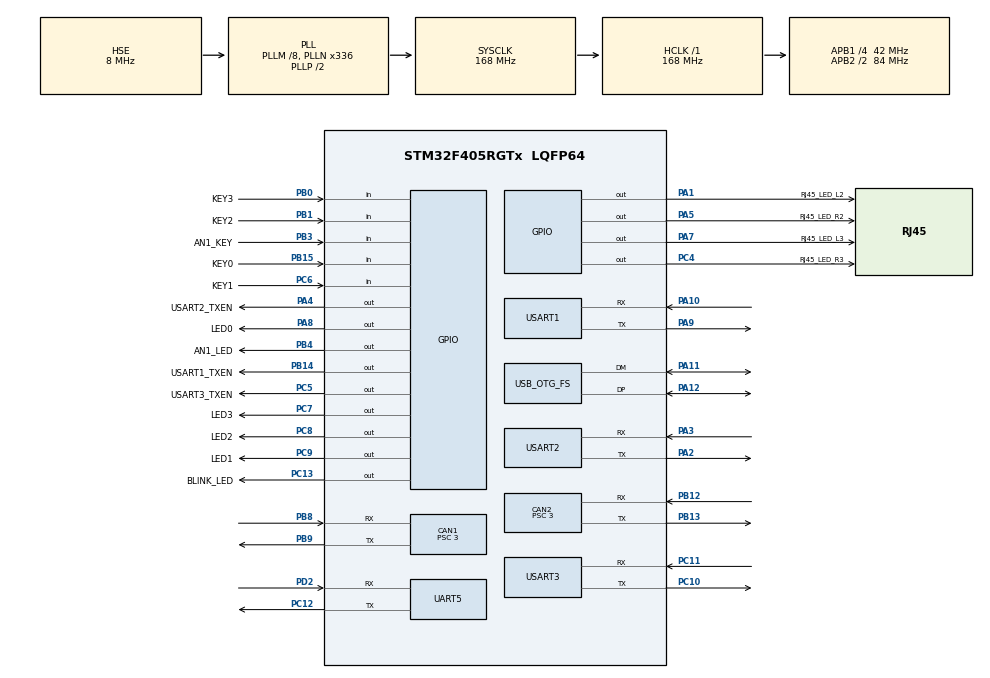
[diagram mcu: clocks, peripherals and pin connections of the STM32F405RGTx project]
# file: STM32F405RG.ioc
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CAN1.BS1=CAN_BS1_10TQ
CAN1.BS2=CAN_BS2_3TQ
CAN1.CalculateBaudRate=1000000
CAN1.CalculateTimeBit=1000
CAN1.CalculateTimeQuantum=71.42857142857143
CAN1.Prescaler=3
CAN2.BS1=CAN_BS1_10TQ
CAN2.BS2=CAN_BS2_3TQ
CAN2.CalculateBaudRate=1000000
CAN2.CalculateTimeBit=1000
CAN2.CalculateTimeQuantum=71.42857142857143
CAN2.Prescaler=3
Dma.Request0=UART5_RX
Dma.Request1=UART5_TX
Dma.Request2=USART2_RX
Dma.Request3=USART2_TX
Dma.Request4=USART3_RX
Dma.Request5=USART3_TX
Dma.Request6=USART1_RX
Dma.Request7=USART1_TX
Dma.UART5_RX.0.Direction=DMA_PERIPH_TO_MEMORY
Dma.UART5_RX.0.FIFOMode=DMA_FIFOMODE_DISABLE
Dma.UART5_RX.0.Instance=DMA1_Stream0
Dma.UART5_RX.0.MemDataAlignment=DMA_MDATAALIGN_BYTE
Dma.UART5_RX.0.MemInc=DMA_MINC_ENABLE
Dma.UART5_RX.0.Mode=DMA_CIRCULAR
Dma.UART5_RX.0.PeriphDataAlignment=DMA_PDATAALIGN_BYTE
Dma.UART5_RX.0.PeriphInc=DMA_PINC_DISABLE
Dma.UART5_RX.0.Priority=DMA_PRIORITY_LOW
Dma.UART5_TX.1.Direction=DMA_MEMORY_TO_PERIPH
Dma.UART5_TX.1.FIFOMode=DMA_FIFOMODE_DISABLE
Dma.UART5_TX.1.Instance=DMA1_Stream7
Dma.UART5_TX.1.MemDataAlignment=DMA_MDATAALIGN_BYTE
Dma.UART5_TX.1.MemInc=DMA_MINC_ENABLE
Dma.UART5_TX.1.Mode=DMA_NORMAL
Dma.UART5_TX.1.PeriphDataAlignment=DMA_PDATAALIGN_BYTE
Dma.UART5_TX.1.PeriphInc=DMA_PINC_DISABLE
Dma.UART5_TX.1.Priority=DMA_PRIORITY_LOW
Dma.USART1_RX.6.Direction=DMA_PERIPH_TO_MEMORY
Dma.USART1_RX.6.FIFOMode=DMA_FIFOMODE_DISABLE
Dma.USART1_RX.6.Instance=DMA2_Stream2
Dma.USART1_RX.6.MemDataAlignment=DMA_MDATAALIGN_BYTE
Dma.USART1_RX.6.MemInc=DMA_MINC_ENABLE
Dma.USART1_RX.6.Mode=DMA_CIRCULAR
Dma.USART1_RX.6.PeriphDataAlignment=DMA_PDATAALIGN_BYTE
Dma.USART1_RX.6.PeriphInc=DMA_PINC_DISABLE
Dma.USART1_RX.6.Priority=DMA_PRIORITY_LOW
Dma.USART1_TX.7.Direction=DMA_MEMORY_TO_PERIPH
Dma.USART1_TX.7.FIFOMode=DMA_FIFOMODE_DISABLE
Dma.USART1_TX.7.Instance=DMA2_Stream7
Dma.USART1_TX.7.MemDataAlignment=DMA_MDATAALIGN_BYTE
Dma.USART1_TX.7.MemInc=DMA_MINC_ENABLE
Dma.USART1_TX.7.Mode=DMA_NORMAL
Dma.USART1_TX.7.PeriphDataAlignment=DMA_PDATAALIGN_BYTE
Dma.USART1_TX.7.PeriphInc=DMA_PINC_DISABLE
Dma.USART1_TX.7.Priority=DMA_PRIORITY_LOW
Dma.USART2_RX.2.Direction=DMA_PERIPH_TO_MEMORY
Dma.USART2_RX.2.FIFOMode=DMA_FIFOMODE_DISABLE
Dma.USART2_RX.2.Instance=DMA1_Stream5
Dma.USART2_RX.2.MemDataAlignment=DMA_MDATAALIGN_BYTE
Dma.USART2_RX.2.MemInc=DMA_MINC_ENABLE
Dma.USART2_RX.2.Mode=DMA_CIRCULAR
Dma.USART2_RX.2.PeriphDataAlignment=DMA_PDATAALIGN_BYTE
Dma.USART2_RX.2.PeriphInc=DMA_PINC_DISABLE
Dma.USART2_RX.2.Priority=DMA_PRIORITY_LOW
Dma.USART2_TX.3.Direction=DMA_MEMORY_TO_PERIPH
Dma.USART2_TX.3.FIFOMode=DMA_FIFOMODE_DISABLE
Dma.USART2_TX.3.Instance=DMA1_Stream6
Dma.USART2_TX.3.MemDataAlignment=DMA_MDATAALIGN_BYTE
Dma.USART2_TX.3.MemInc=DMA_MINC_ENABLE
Dma.USART2_TX.3.Mode=DMA_NORMAL
Dma.USART2_TX.3.PeriphDataAlignment=DMA_PDATAALIGN_BYTE
Dma.USART2_TX.3.PeriphInc=DMA_PINC_DISABLE
Dma.USART2_TX.3.Priority=DMA_PRIORITY_LOW
Dma.USART3_RX.4.Direction=DMA_PERIPH_TO_MEMORY
Dma.USART3_RX.4.FIFOMode=DMA_FIFOMODE_DISABLE
Dma.USART3_RX.4.Instance=DMA1_Stream1
Dma.USART3_RX.4.MemDataAlignment=DMA_MDATAALIGN_BYTE
Dma.USART3_RX.4.MemInc=DMA_MINC_ENABLE
Dma.USART3_RX.4.Mode=DMA_CIRCULAR
Dma.USART3_RX.4.PeriphDataAlignment=DMA_PDATAALIGN_BYTE
Dma.USART3_RX.4.PeriphInc=DMA_PINC_DISABLE
Dma.USART3_RX.4.Priority=DMA_PRIORITY_LOW
Dma.USART3_TX.5.Direction=DMA_MEMORY_TO_PERIPH
Dma.USART3_TX.5.FIFOMode=DMA_FIFOMODE_DISABLE
Dma.USART3_TX.5.Instance=DMA1_Stream3
Dma.USART3_TX.5.MemDataAlignment=DMA_MDATAALIGN_BYTE
Dma.USART3_TX.5.MemInc=DMA_MINC_ENABLE
Dma.USART3_TX.5.Mode=DMA_NORMAL
Dma.USART3_TX.5.PeriphDataAlignment=DMA_PDATAALIGN_BYTE
Dma.USART3_TX.5.PeriphInc=DMA_PINC_DISABLE
Dma.USART3_TX.5.Priority=DMA_PRIORITY_LOW
FREERTOS.INCLUDE_eTaskGetState=1
FREERTOS.INCLUDE_uxTaskGetStackHighWaterMark=1
FREERTOS.INCLUDE_vTaskDelayUntil=1
FREERTOS.Tasks01=startTask,0,1024,StartTask,As weak,NULL,Dynamic,NULL,NULL;appTask,-3,1024,AppTask,As weak,NULL,Dynamic,NULL,NULL
FREERTOS.configCHECK_FOR_STACK_OVERFLOW=2
FREERTOS.configENABLE_FPU=1
FREERTOS.configGENERATE_RUN_TIME_STATS=1
FREERTOS.configMINIMAL_STACK_SIZE=128
FREERTOS.configTOTAL_HEAP_SIZE=102400
FREERTOS.configUSE_MALLOC_FAILED_HOOK=1
FREERTOS.configUSE_STATS_FORMATTING_FUNCTIONS=1
FREERTOS.configUSE_TIMERS=1
FREERTOS.configUSE_TRACE_FACILITY=1
Mcu.Family=STM32F4
Mcu.Name=STM32F405RGTx
Mcu.Package=LQFP64
NVIC.CAN1_RX0_IRQn=true\:5\:0\:false\:false\:true\:true\:true\:true\:true
NVIC.CAN2_RX0_IRQn=true\:5\:0\:false\:false\:true\:true\:true\:true\:true
NVIC.DMA1_Stream0_IRQn=true\:5\:0\:false\:false\:true\:true\:false\:true\:true
NVIC.DMA1_Stream1_IRQn=true\:5\:0\:false\:false\:true\:true\:false\:true\:true
NVIC.DMA1_Stream3_IRQn=true\:5\:0\:false\:false\:true\:true\:false\:true\:true
NVIC.DMA1_Stream5_IRQn=true\:5\:0\:false\:false\:true\:true\:false\:true\:true
NVIC.DMA1_Stream6_IRQn=true\:5\:0\:false\:false\:true\:true\:false\:true\:true
NVIC.DMA1_Stream7_IRQn=true\:5\:0\:false\:false\:true\:true\:false\:true\:true
NVIC.DMA2_Stream2_IRQn=true\:5\:0\:false\:false\:true\:true\:false\:true\:true
NVIC.DMA2_Stream7_IRQn=true\:5\:0\:false\:false\:true\:true\:false\:true\:true
NVIC.HASH_RNG_IRQn=true\:5\:0\:false\:false\:true\:true\:true\:true\:true
NVIC.OTG_FS_IRQn=true\:5\:0\:false\:false\:true\:true\:false\:true\:true
NVIC.PriorityGroup=NVIC_PRIORITYGROUP_4
NVIC.TIM2_IRQn=true\:5\:0\:false\:false\:true\:true\:true\:true\:true
NVIC.TIM7_IRQn=true\:15\:0\:false\:false\:true\:false\:false\:true\:true
NVIC.TimeBase=TIM7_IRQn
NVIC.TimeBaseIP=TIM7
NVIC.UART5_IRQn=true\:5\:0\:false\:false\:true\:true\:true\:true\:true
NVIC.USART1_IRQn=true\:5\:0\:false\:false\:true\:true\:true\:true\:true
NVIC.USART2_IRQn=true\:5\:0\:false\:false\:true\:true\:true\:true\:true
NVIC.USART3_IRQn=true\:5\:0\:false\:false\:true\:true\:true\:true\:true
PA1.GPIO_Label=RJ45_LED_L2
PA1.Signal=GPIO_Output
PA10.Mode=Asynchronous
PA10.Signal=USART1_RX
PA11.Mode=Device_Only
PA11.Signal=USB_OTG_FS_DM
PA12.Mode=Device_Only
PA12.Signal=USB_OTG_FS_DP
PA13.Mode=Serial_Wire
PA13.Signal=SYS_JTMS-SWDIO
PA14.Mode=Serial_Wire
PA14.Signal=SYS_JTCK-SWCLK
PA2.Mode=Asynchronous
PA2.Signal=USART2_TX
PA3.Mode=Asynchronous
PA3.Signal=USART2_RX
PA4.GPIO_Label=USART2_TXEN
PA4.Signal=GPIO_Output
PA5.GPIO_Label=RJ45_LED_R2
PA5.Signal=GPIO_Output
PA7.GPIO_Label=RJ45_LED_L3
PA7.Signal=GPIO_Output
PA8.GPIO_Label=LED0
PA8.Signal=GPIO_Output
PA9.Mode=Asynchronous
PA9.Signal=USART1_TX
PB0.GPIO_Label=KEY3
PB0.GPIO_PuPd=GPIO_PULLUP
PB0.Signal=GPIO_Input
PB1.GPIO_Label=KEY2
PB1.GPIO_PuPd=GPIO_PULLUP
PB1.Signal=GPIO_Input
PB12.Mode=CAN_Activate
PB12.Signal=CAN2_RX
PB13.Mode=CAN_Activate
PB13.Signal=CAN2_TX
PB14.GPIO_Label=USART1_TXEN
PB14.Signal=GPIO_Output
PB15.GPIO_Label=KEY0
PB15.GPIO_PuPd=GPIO_PULLUP
PB15.Signal=GPIO_Input
PB3.GPIO_Label=AN1_KEY
PB3.GPIO_PuPd=GPIO_NOPULL
PB3.Signal=GPIO_Input
PB4.GPIO_Label=AN1_LED
PB4.Signal=GPIO_Output
PB8.Mode=CAN_Activate
PB8.Signal=CAN1_RX
PB9.Mode=CAN_Activate
PB9.Signal=CAN1_TX
PC10.Mode=Asynchronous
PC10.Signal=USART3_TX
PC11.Mode=Asynchronous
PC11.Signal=USART3_RX
PC12.Mode=Asynchronous
PC12.Signal=UART5_TX
PC13-ANTI_TAMP.GPIO_Label=BLINK_LED
PC13-ANTI_TAMP.Signal=GPIO_Output
PC4.GPIO_Label=RJ45_LED_R3
PC4.Signal=GPIO_Output
PC5.GPIO_Label=USART3_TXEN
PC5.Signal=GPIO_Output
PC6.GPIO_Label=KEY1
PC6.GPIO_PuPd=GPIO_PULLUP
PC6.Signal=GPIO_Input
PC7.GPIO_Label=LED3
PC7.Signal=GPIO_Output
PC8.GPIO_Label=LED2
PC8.Signal=GPIO_Output
PC9.GPIO_Label=LED1
PC9.Signal=GPIO_Output
PD2.Mode=Asynchronous
PD2.Signal=UART5_RX
PH0-OSC_IN.Mode=HSE-External-Oscillator
PH0-OSC_IN.Signal=RCC_OSC_IN
PH1-OSC_OUT.Mode=HSE-External-Oscillator
PH1-OSC_OUT.Signal=RCC_OSC_OUT
ProjectManager.HeapSize=0x800
ProjectManager.StackSize=0x800
ProjectManager.TargetToolchain=MDK-ARM V5.32
RCC.48MHZClocksFreq_Value=48000000
RCC.AHBFreq_Value=168000000
RCC.APB1CLKDivider=RCC_HCLK_DIV4
RCC.APB1Freq_Value=42000000
RCC.APB1TimFreq_Value=84000000
RCC.APB2CLKDivider=RCC_HCLK_DIV2
RCC.APB2Freq_Value=84000000
RCC.APB2TimFreq_Value=168000000
RCC.CortexFreq_Value=168000000
RCC.HCLKFreq_Value=168000000
RCC.HSE_VALUE=8000000
RCC.HSI_VALUE=16000000
RCC.LSE_VALUE=32768
RCC.PLLM=8
RCC.PLLN=336
RCC.PLLQ=7
RCC.SYSCLKFreq_VALUE=168000000
RCC.SYSCLKSource=RCC_SYSCLKSOURCE_PLLCLK
RCC.VCOOutputFreq_Value=336000000
TIM2.AutoReloadPreload=TIM_AUTORELOAD_PRELOAD_ENABLE
TIM2.Period=99999
TIM2.Prescaler=83
UART5.VirtualMode=Asynchronous
USART1.VirtualMode=VM_ASYNC
USART2.VirtualMode=VM_ASYNC
USART3.VirtualMode=VM_ASYNC
USB_DEVICE.CLASS_NAME_FS=CDC
USB_DEVICE.VirtualMode-CDC_FS=Cdc
USB_DEVICE.VirtualModeFS=Cdc_FS
USB_OTG_FS.VirtualMode=Device_Only
VP_FREERTOS_VS_CMSIS_V1.Mode=CMSIS_V1
VP_RNG_VS_RNG.Mode=RNG_Activate
VP_SYS_VS_tim7.Mode=TIM7
VP_TIM2_VS_ClockSourceINT.Mode=Internal
VP_USB_DEVICE_VS_USB_DEVICE_CDC_FS.Mode=CDC_FS
board=custom

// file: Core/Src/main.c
/* USER CODE BEGIN Header */
/**
  ******************************************************************************
  * @file           : main.c
  * @brief          : Main program body
  ******************************************************************************
  * @attention
  *
  * Copyright (c) 2023 STMicroelectronics.
  * All rights reserved.
  *
  * This software is licensed under terms that can be found in the LICENSE file
  * in the root directory of this software component.
  * If no LICENSE file comes with this software, it is provided AS-IS.
  *
  ******************************************************************************
  */
/* USER CODE END Header */
#include "main.h"
#include "cmsis_os.h"
#include "can.h"
#include "dma.h"
#include "rng.h"
#include "tim.h"
#include "usart.h"
#include "usb_device.h"
#include "gpio.h"

/* USER CODE BEGIN Includes */
#include "SEGGER_SYSVIEW.h"
#include "SEGGER_RTT.h"
#include "init.h"
#include "drv_motor.h"

#define LOG_TAG "main"
#define LOG_OUTPUT_LEVEL LOG_INFO
#include "log.h"
/* USER CODE END Includes */

void SystemClock_Config(void);
void MX_FREERTOS_Init(void);

/* USER CODE BEGIN 0 */
extern TIM_HandleTypeDef htim2;
/* USER CODE END 0 */

int main(void)
{

  /* MCU Configuration--------------------------------------------------------*/

  /* Reset of all peripherals, Initializes the Flash interface and the Systick. */
  HAL_Init();

  /* Configure the system clock */
  SystemClock_Config();

  /* Initialize all configured peripherals */
  MX_GPIO_Init();
  MX_DMA_Init();
  MX_UART5_Init();
  MX_USART2_UART_Init();
  MX_USART3_UART_Init();
  MX_RNG_Init();
  MX_USART1_UART_Init();
  MX_CAN1_Init();
  MX_CAN2_Init();
  MX_TIM2_Init();
  /* USER CODE BEGIN 2 */
  __enable_irq();
  can_filter_init();
  HAL_TIM_Base_Start_IT(&htim2);
  // HAL_GPIO_WritePin(LED0_GPIO_Port, LED0_Pin, GPIO_PIN_RESET);
  // HAL_GPIO_WritePin(LED1_GPIO_Port, LED1_Pin, GPIO_PIN_RESET);
  // HAL_GPIO_WritePin(LED2_GPIO_Port, LED2_Pin, GPIO_PIN_RESET);
  // HAL_GPIO_WritePin(LED3_GPIO_Port, LED3_Pin, GPIO_PIN_RESET);

//	SEGGER_RTT_printf(0,"RTT printf test! \r\n");
	// printf(RTT_CTRL_BG_BRIGHT_GREEN RTT_CTRL_TEXT_BRIGHT_RED"app is running!\r\n");
	// printf(RTT_CTRL_RESET);
	// printf("app is running!\r\n");
  /* USER CODE END 2 */

  /* Call init function for freertos objects (in freertos.c) */
  MX_FREERTOS_Init();

  /* Start scheduler */
  osKernelStart();

  /* We should never get here as control is now taken by the scheduler */
  /* Infinite loop */
  while (1)
  {

  }
}

void SystemClock_Config(void)
{
  RCC_OscInitTypeDef RCC_OscInitStruct = {0};
  RCC_ClkInitTypeDef RCC_ClkInitStruct = {0};

  /** Configure the main internal regulator output voltage
  */
  __HAL_RCC_PWR_CLK_ENABLE();
  __HAL_PWR_VOLTAGESCALING_CONFIG(PWR_REGULATOR_VOLTAGE_SCALE1);

  /** Initializes the RCC Oscillators according to the specified parameters
  * in the RCC_OscInitTypeDef structure.
  */
  RCC_OscInitStruct.OscillatorType = RCC_OSCILLATORTYPE_HSE;
  RCC_OscInitStruct.HSEState = RCC_HSE_ON;
  RCC_OscInitStruct.PLL.PLLState = RCC_PLL_ON;
  RCC_OscInitStruct.PLL.PLLSource = RCC_PLLSOURCE_HSE;
  RCC_OscInitStruct.PLL.PLLM = 8;
  RCC_OscInitStruct.PLL.PLLN = 336;
  RCC_OscInitStruct.PLL.PLLP = RCC_PLLP_DIV2;
  RCC_OscInitStruct.PLL.PLLQ = 7;
  if (HAL_RCC_OscConfig(&RCC_OscInitStruct) != HAL_OK)
  {
    Error_Handler();
  }

  /** Initializes the CPU, AHB and APB buses clocks
  */
  RCC_ClkInitStruct.ClockType = RCC_CLOCKTYPE_HCLK|RCC_CLOCKTYPE_SYSCLK
                              |RCC_CLOCKTYPE_PCLK1|RCC_CLOCKTYPE_PCLK2;
  RCC_ClkInitStruct.SYSCLKSource = RCC_SYSCLKSOURCE_PLLCLK;
  RCC_ClkInitStruct.AHBCLKDivider = RCC_SYSCLK_DIV1;
  RCC_ClkInitStruct.APB1CLKDivider = RCC_HCLK_DIV4;
  RCC_ClkInitStruct.APB2CLKDivider = RCC_HCLK_DIV2;

  if (HAL_RCC_ClockConfig(&RCC_ClkInitStruct, FLASH_LATENCY_5) != HAL_OK)
  {
    Error_Handler();
  }
}

void HAL_TIM_PeriodElapsedCallback(TIM_HandleTypeDef *htim)
{
  if (htim->Instance == TIM7) {
    HAL_IncTick();
  }
  /* USER CODE BEGIN Callback 1 */
  if (htim->Instance == TIM2) {
    key_led_controller();
  }
  /* USER CODE END Callback 1 */
}

void Error_Handler(void)
{
  __disable_irq();
  while (1)
  {
  }
}

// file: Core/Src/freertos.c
/* USER CODE BEGIN Header */
/**
  ******************************************************************************
  * File Name          : freertos.c
  * Description        : Code for freertos applications
  ******************************************************************************
  * @attention
  *
  * Copyright (c) 2023 STMicroelectronics.
  * All rights reserved.
  *
  * This software is licensed under terms that can be found in the LICENSE file
  * in the root directory of this software component.
  * If no LICENSE file comes with this software, it is provided AS-IS.
  *
  ******************************************************************************
  */
/* USER CODE END Header */

#include "FreeRTOS.h"
#include "task.h"
#include "main.h"
#include "cmsis_os.h"

/* USER CODE BEGIN Includes */
#include "comm_task.h"
#include "monitor_task.h"
#include "init.h"
#include "drv_uart.h"
#include "letter_shell_task.h"
#include "offline_task.h"

#define LOG_TAG "freertos"
#define LOG_OUTPUT_LEVEL  LOG_INFO
#include "log.h"

/* USER CODE END Includes */

/* USER CODE BEGIN Variables */
osThreadId radioTaskHandle;
osThreadId modbus1TaskHandle;
osThreadId modbus2TaskHandle;
osThreadId modbus3TaskHandle;
osThreadId ioTaskHandle;
osThreadId fsmTaskHandle;
osThreadId appTaskHandle;
osThreadId offlineTaskHandle;

osThreadId MonitorTaskHandle;
osThreadId ShellTaskHandle;

/* USER CODE END Variables */
osThreadId startTaskHandle;
osThreadId appTaskHandle;

void StartTask(void const * argument);
void AppTask(void const * argument);

extern void MX_USB_DEVICE_Init(void);
void MX_FREERTOS_Init(void); /* (MISRA C 2004 rule 8.1) */

/* GetIdleTaskMemory prototype (linked to static allocation support) */
void vApplicationGetIdleTaskMemory( StaticTask_t **ppxIdleTaskTCBBuffer, StackType_t **ppxIdleTaskStackBuffer, uint32_t *pulIdleTaskStackSize );

/* GetTimerTaskMemory prototype (linked to static allocation support) */
void vApplicationGetTimerTaskMemory( StaticTask_t **ppxTimerTaskTCBBuffer, StackType_t **ppxTimerTaskStackBuffer, uint32_t *pulTimerTaskStackSize );

/* Hook prototypes */
void configureTimerForRunTimeStats(void);
unsigned long getRunTimeCounterValue(void);
void vApplicationStackOverflowHook(xTaskHandle xTask, signed char *pcTaskName);
void vApplicationMallocFailedHook(void);

/* USER CODE BEGIN 1 */
/* Functions needed when configGENERATE_RUN_TIME_STATS is on */
__weak void configureTimerForRunTimeStats(void)
{

}

__weak unsigned long getRunTimeCounterValue(void)
{
return 0;
}
/* USER CODE END 1 */

/* USER CODE BEGIN 4 */
__weak void vApplicationStackOverflowHook(xTaskHandle xTask, signed char *pcTaskName)
{
   /* Run time stack overflow checking is performed if
   configCHECK_FOR_STACK_OVERFLOW is defined to 1 or 2. This hook function is
   called if a stack overflow is detected. */
}
/* USER CODE END 4 */

/* USER CODE BEGIN 5 */
__weak void vApplicationMallocFailedHook(void)
{
   /* vApplicationMallocFailedHook() will only be called if
   configUSE_MALLOC_FAILED_HOOK is set to 1 in FreeRTOSConfig.h. It is a hook
   function that will get called if a call to pvPortMalloc() fails.
   pvPortMalloc() is called internally by the kernel whenever a task, queue,
   timer or semaphore is created. It is also called by various parts of the
   demo application. If heap_1.c or heap_2.c are used, then the size of the
   heap available to pvPortMalloc() is defined by configTOTAL_HEAP_SIZE in
   FreeRTOSConfig.h, and the xPortGetFreeHeapSize() API function can be used
   to query the size of free heap space that remains (although it does not
   provide information on how the remaining heap might be fragmented). */
}
/* USER CODE END 5 */

/* USER CODE BEGIN GET_IDLE_TASK_MEMORY */
static StaticTask_t xIdleTaskTCBBuffer;
static StackType_t xIdleStack[configMINIMAL_STACK_SIZE];

void vApplicationGetIdleTaskMemory( StaticTask_t **ppxIdleTaskTCBBuffer, StackType_t **ppxIdleTaskStackBuffer, uint32_t *pulIdleTaskStackSize )
{
  *ppxIdleTaskTCBBuffer = &xIdleTaskTCBBuffer;
  *ppxIdleTaskStackBuffer = &xIdleStack[0];
  *pulIdleTaskStackSize = configMINIMAL_STACK_SIZE;
  /* place for user code */
}
/* USER CODE END GET_IDLE_TASK_MEMORY */

/* USER CODE BEGIN GET_TIMER_TASK_MEMORY */
static StaticTask_t xTimerTaskTCBBuffer;
static StackType_t xTimerStack[configTIMER_TASK_STACK_DEPTH];

void vApplicationGetTimerTaskMemory( StaticTask_t **ppxTimerTaskTCBBuffer, StackType_t **ppxTimerTaskStackBuffer, uint32_t *pulTimerTaskStackSize )
{
  *ppxTimerTaskTCBBuffer = &xTimerTaskTCBBuffer;
  *ppxTimerTaskStackBuffer = &xTimerStack[0];
  *pulTimerTaskStackSize = configTIMER_TASK_STACK_DEPTH;
  /* place for user code */
}
/* USER CODE END GET_TIMER_TASK_MEMORY */

void MX_FREERTOS_Init(void) {

  /* Create the thread(s) */
  /* definition and creation of startTask */
  osThreadDef(startTask, StartTask, osPriorityNormal, 0, 1024);
  startTaskHandle = osThreadCreate(osThread(startTask), NULL);

  /* definition and creation of appTask */
  osThreadDef(appTask, AppTask, osPriorityIdle, 0, 1024);
  appTaskHandle = osThreadCreate(osThread(appTask), NULL);

}

__weak void StartTask(void const * argument)
{
  /* init code for USB_DEVICE */
  MX_USB_DEVICE_Init();
  /* USER CODE BEGIN StartTask */
  uint32_t period = osKernelSysTick();
  SEGGER_SYSVIEW_Conf();

	board_config();

  osThreadDef(commTask, Comm_Task, osPriorityAboveNormal, 0, 1024);
  fsmTaskHandle = osThreadCreate(osThread(commTask), NULL);

  osThreadDef(offlineTask, Offline_Task, osPriorityNormal, 0, 512);
  offlineTaskHandle = osThreadCreate(osThread(offlineTask), NULL);

  osThreadDef(ShellTask, Shell_Task, osPriorityNormal, 0, 512);
  ShellTaskHandle = osThreadCreate(osThread(ShellTask), NULL);

  /* Infinite loop */
  for(;;)
  {
//			HAL_GPIO_TogglePin(BLINK_LED_GPIO_Port,BLINK_LED_Pin);
			osDelayUntil(&period, 500);
  }
  /* USER CODE END StartTask */
}

__weak void AppTask(void const * argument)
{
  for(;;)
  {
    osDelay(1);
  }
}
